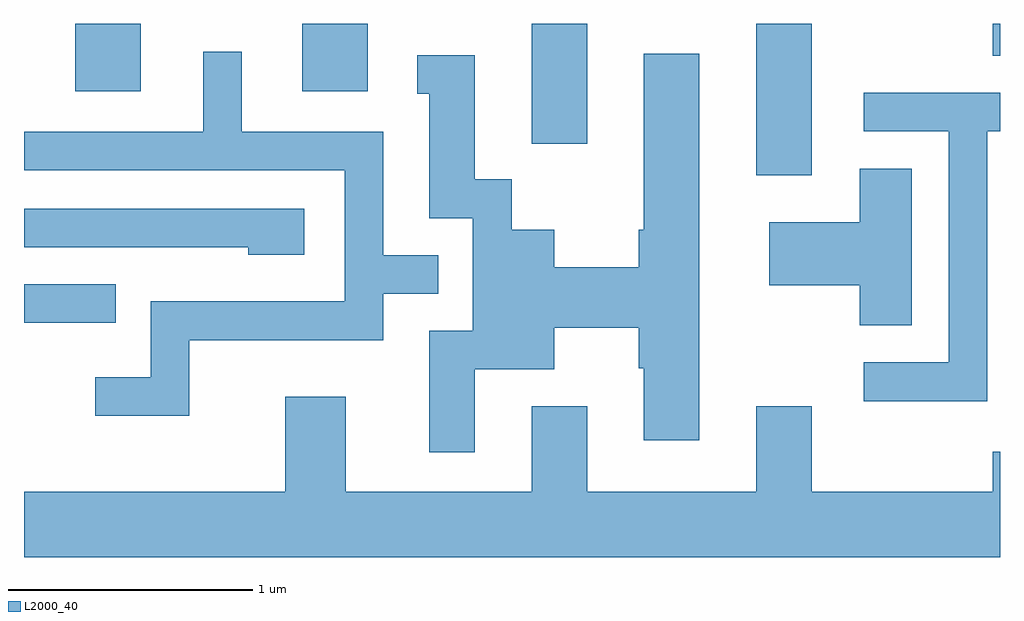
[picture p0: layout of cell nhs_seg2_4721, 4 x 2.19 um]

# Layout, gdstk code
import gdstk
lib = gdstk.Library(unit=1e-6, precision=1e-09)
def R(c, l, rs):  # rectangles x0, y0, x1, y1
    for r in rs: c.add(gdstk.rectangle(r[:2], r[2:], *l))
def P(c, l, *ps):  # polygons
    for p in ps: c.add(gdstk.Polygon(p, *l))
L2000_40 = (2000, 40)

nhs_seg2_4721 = lib.new_cell('nhs_seg2_4721')
R(nhs_seg2_4721, L2000_40, [(323.611,1082.576,323.988,1082.734), (326.611,1083.181,326.839,1083.802), (325.691,1083.311,325.919,1083.802), (323.821,1083.526,324.089,1083.802), (324.751,1083.526,325.019,1083.802), (327.581,1083.671,327.611,1083.802)])
P(nhs_seg2_4721, L2000_40, [(324.289,1082.506),(325.084,1082.506),(325.084,1082.696),(325.308,1082.696),(325.308,1082.854),(325.084,1082.854),(325.084,1083.359),(324.504,1083.359),(324.504,1083.688),(324.346,1083.688),(324.346,1083.359),(323.611,1083.359),(323.611,1083.201),(324.926,1083.201),(324.926,1082.664),(324.131,1082.664),(324.131,1082.354),(323.903,1082.354),(323.903,1082.196),(324.289,1082.196)],
  [(325.459,1082.386),(325.784,1082.386),(325.784,1082.556),(326.131,1082.556),(326.131,1082.391),(326.151,1082.391),(326.151,1082.096),(326.379,1082.096),(326.379,1083.679),(326.151,1083.679),(326.151,1082.959),(326.131,1082.959),(326.131,1082.804),(325.784,1082.804),(325.784,1082.959),(325.609,1082.959),(325.609,1083.164),(325.459,1083.164),(325.459,1083.674),(325.223,1083.674),(325.223,1083.516),(325.271,1083.516),(325.271,1083.006),(325.451,1083.006),(325.451,1082.544),(325.271,1082.544),(325.271,1082.046),(325.459,1082.046)],
  [(327.559,1083.361),(327.611,1083.361),(327.611,1083.519),(327.053,1083.519),(327.053,1083.361),(327.401,1083.361),(327.401,1082.414),(327.053,1082.414),(327.053,1082.256),(327.559,1082.256)],
  [(327.249,1083.209),(327.036,1083.209),(327.036,1082.989),(326.666,1082.989),(326.666,1082.731),(327.036,1082.731),(327.036,1082.566),(327.249,1082.566)],
  [(324.759,1083.044),(323.611,1083.044),(323.611,1082.886),(324.531,1082.886),(324.531,1082.856),(324.759,1082.856)],
  [(327.611,1082.049),(327.581,1082.049),(327.581,1081.884),(326.839,1081.884),(326.839,1082.234),(326.611,1082.234),(326.611,1081.884),(325.919,1081.884),(325.919,1082.234),(325.691,1082.234),(325.691,1081.884),(324.929,1081.884),(324.929,1082.274),(324.681,1082.274),(324.681,1081.884),(323.611,1081.884),(323.611,1081.616),(327.611,1081.616)])

lib.write_gds('nhs_seg2_4721.gds')
